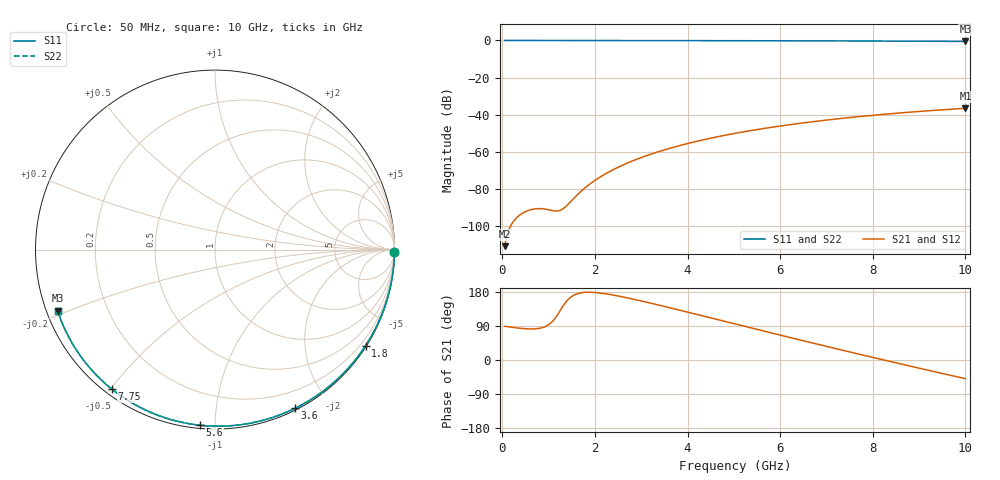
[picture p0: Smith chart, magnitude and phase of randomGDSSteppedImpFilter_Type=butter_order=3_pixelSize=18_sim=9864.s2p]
! freq	dB(S11)	phase(S11)	dB(S12)	phase(S12)
!  dB(S21)	phase(S21)	dB(S22)	phase(S22)
!S-par simulation data
#  GHz  S  DB  R 50
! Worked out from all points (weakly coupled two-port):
!   200 points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, 50 MHz to 10 GHz, reference 50 ohm
!   highest |S21| = -36.63 dB at 10 GHz (marker M1); lowest = -111.0 dB at 50 MHz (marker M2)
!   lowest |S11| = -0.5 dB at 10 GHz (marker M3), VSWR 32.64, Z = 1.59 - j9.36 ohm
!   |S11| at or under -10 dB: nowhere
!   |S22| runs from -0.5 to 0.0 dB; largest |S21 - S12| = 0
!   S11 on the Smith chart (normalised r, x): 50 MHz: open; 1.8 GHz: 0.03, -3.43; 3.6 GHz: 0.02, -1.62; 5.6 GHz: 0.02, -0.92; 7.75 GHz: 0.02, -0.51; 10 GHz: 0.03, -0.19
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0.05  -0.00 -0.9  -111.02 89.1  -111.02 89.1  -0.00 -0.9
0.45  -0.01 -8.3  -93.02 82.9  -93.02 82.9  -0.01 -8.3
0.9  -0.02 -16.4  -90.92 86.9  -90.92 86.9  -0.02 -16.4
1.3  -0.03 -23.6  -91.04 140.2  -91.04 140.2  -0.03 -23.6
1.75  -0.04 -31.6  -80.30 178.2  -80.30 178.2  -0.04 -31.6
1.8  -0.04 -32.5  -79.26 178.7  -79.26 178.7  -0.04 -32.5
1.95  -0.04 -35.2  -76.40 178.6  -76.40 178.6  -0.04 -35.2
2.1  -0.05 -37.8  -73.90 176.9  -73.90 176.9  -0.05 -37.8
2.45  -0.06 -43.9  -69.05 170.1  -69.05 170.1  -0.06 -43.9
2.65  -0.06 -47.3  -66.72 165.2  -66.72 165.2  -0.06 -47.3
2.9  -0.07 -51.6  -64.14 158.6  -64.14 158.6  -0.07 -51.6
3.4  -0.08 -60.0  -59.81 144.3  -59.81 144.3  -0.08 -60.0
3.6  -0.08 -63.3  -58.32 138.4  -58.32 138.4  -0.08 -63.3
4.3  -0.11 -74.7  -53.84 117.3  -53.84 117.3  -0.11 -74.7
5.05  -0.13 -86.5  -50.02 94.5  -50.02 94.5  -0.13 -86.5
5.6  -0.16 -94.9  -47.68 77.8  -47.68 77.8  -0.16 -94.9
6.15  -0.18 -103.1  -45.65 61.2  -45.65 61.2  -0.18 -103.1
6.7  -0.22 -111.2  -43.86 44.8  -43.86 44.8  -0.22 -111.2
7.75  -0.29 -126.4  -40.99 14.1  -40.99 14.1  -0.29 -126.4
8.35  -0.35 -135.0  -39.61 -3.2  -39.61 -3.2  -0.35 -135.0
9.2  -0.43 -147.1  -37.94 -27.2  -37.94 -27.2  -0.43 -147.1
10  -0.53 -158.8  -36.63 -49.4  -36.63 -49.4  -0.53 -158.8
